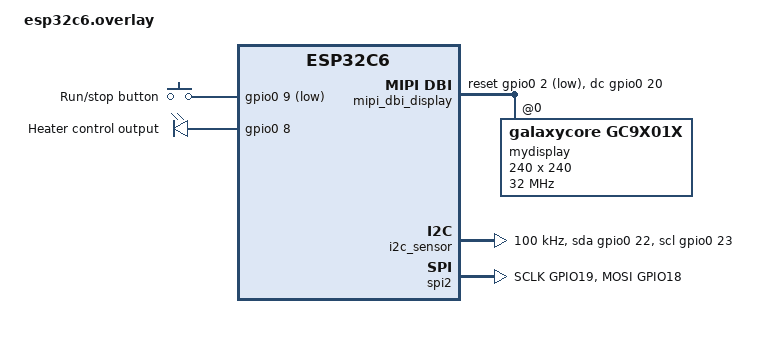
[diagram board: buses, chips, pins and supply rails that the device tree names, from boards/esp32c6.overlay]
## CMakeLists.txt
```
cmake_minimum_required(VERSION 3.20.0)

if(NOT DEFINED BOARD)
    # The ESP32-C6 Super Mini has the same 4 MB C6 module class and native USB
    # serial/JTAG path used by this Zephyr board definition. boards/esp32c6.overlay
    # overrides all user-facing pins with raw Super Mini GPIO numbers.
    set(BOARD xiao_esp32c6/esp32c6/hpcore)
endif()

if(BOARD STREQUAL "xiao_esp32c6/esp32c6/hpcore")
    set(DTC_OVERLAY_FILE "boards/esp32c6.overlay")
    set(EXTRA_CONF_FILE "boards/esp32c6.conf")
endif()

find_package(Zephyr REQUIRED HINTS $ENV{ZEPHYR_BASE})
project(FieldSterilization
    VERSION
        2.0.0
    DESCRIPTION
        "Field sterilization temperature controller"
)

if(NOT EXISTS "${CMAKE_SOURCE_DIR}/lib/mlx90614/src/driver_mlx90614.c")
    message(FATAL_ERROR
        "Missing MLX90614 driver. Run: git submodule update --init --recursive")
endif()

# Creates the library target
add_library(mlx90614 STATIC lib/mlx90614/src/driver_mlx90614.c)
# Add the libraries header files
target_include_directories(mlx90614 PUBLIC
    lib/mlx90614/src
    lib/mlx90614/interface
    )
# Required to set Zephyr compile options
target_link_libraries(mlx90614 PRIVATE zephyr_interface)


# Locate the source code for the application
target_sources(app PRIVATE
    src/main.c
    src/mlx90614_zephyr_iface.c
    src/mlx90614_read.c
    src/heater_pwm_shell.c
)

# Link the MLX90614 driver library to the application
target_link_libraries(app PRIVATE mlx90614)
```

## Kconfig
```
mainmenu "FieldSterilization"

source "Kconfig.zephyr"

menu "FieldSterilization application"

config FIELDSTERILIZATION_SETPOINT_CENTIC
	int "Temperature setpoint in centi-degrees Celsius"
	default 12100
	range 0 25000
	help
	  Target object temperature. The default is 121.00 C.

config FIELDSTERILIZATION_MAX_SAFE_CENTIC
	int "Maximum safe temperature in centi-degrees Celsius"
	default 13500
	range 0 25000
	help
	  Temperature that immediately stops the run and turns the heater output off.

config FIELDSTERILIZATION_VISUAL_MIN_CENTIC
	int "Minimum display scale temperature in centi-degrees Celsius"
	default 2000
	range -4000 25000
	help
	  Lower bound for the display temperature ring.

config FIELDSTERILIZATION_VISUAL_MAX_CENTIC
	int "Maximum display scale temperature in centi-degrees Celsius"
	default 18000
	range -4000 25000
	help
	  Upper bound for the display temperature ring.

config FIELDSTERILIZATION_CONTROL_WINDOW_MS
	int "Heater software PWM window in milliseconds"
	default 1000
	range 1000 10000
	help
	  Time-proportional control period. 1000 ms is 1 Hz; larger values slow the
	  output switching rate.

config FIELDSTERILIZATION_CONTROL_KP_MILLI
	int "Controller proportional gain, milli-percent per C"
	default 8000
	range 0 50000
	help
	  Proportional gain for the PI control loop. 8000 means 8 percent duty per C.

config FIELDSTERILIZATION_CONTROL_KI_MILLI
	int "Controller integral gain, milli-percent per C per window"
	default 1000
	range 0 10000
	help
	  Integral gain added once per control window. 1000 means 1 percent duty per C
	  per control update.

config FIELDSTERILIZATION_SENSOR_TIMEOUT_MS
	int "Sensor timeout in milliseconds"
	default 1500
	range 200 10000
	help
	  Maximum age of the last good MLX90614 reading before output is disabled.

config FIELDSTERILIZATION_BUTTON_DEBOUNCE_MS
	int "Run button debounce interval in milliseconds"
	default 250
	range 20 2000
	help
	  Minimum time between accepted run/stop button presses.

config FIELDSTERILIZATION_I2C_SCAN_ON_BOOT
	bool "Scan I2C bus on boot"
	help
	  Enable only while debugging sensor wiring. The production default is off.

endmenu
```

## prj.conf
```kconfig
CONFIG_PRINTK=y
CONFIG_WARN_EXPERIMENTAL=y

CONFIG_LOG=y
CONFIG_EXCEPTION_DEBUG=y

# Temperature treated as floating point number
CONFIG_REQUIRES_FLOAT_PRINTF=y

CONFIG_GPIO=y
CONFIG_I2C=y

CONFIG_MAIN_STACK_SIZE=4096

# Tick Source
CONFIG_SYS_CLOCK_TICKS_PER_SEC=1000

CONFIG_HEAP_MEM_POOL_SIZE=16384
CONFIG_KERNEL_MEM_POOL=y
CONFIG_SYS_HEAP_RUNTIME_STATS=y
CONFIG_COMMON_LIBC_MALLOC=n

# I2C Shell
CONFIG_I2C_SHELL=y
CONFIG_SHELL=y

# Application defaults. Temperatures are centi-degrees Celsius.
CONFIG_FIELDSTERILIZATION_SETPOINT_CENTIC=12100
CONFIG_FIELDSTERILIZATION_MAX_SAFE_CENTIC=13500
CONFIG_FIELDSTERILIZATION_VISUAL_MIN_CENTIC=2000
CONFIG_FIELDSTERILIZATION_VISUAL_MAX_CENTIC=18000
CONFIG_FIELDSTERILIZATION_CONTROL_WINDOW_MS=1000
CONFIG_FIELDSTERILIZATION_I2C_SCAN_ON_BOOT=y
```

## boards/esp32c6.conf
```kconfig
CONFIG_ESP32_SPIM=y
# Primary LVGL configs
CONFIG_LVGL=y
CONFIG_LV_USE_LABEL=y
CONFIG_LV_Z_VDB_SIZE=40
CONFIG_LV_Z_FLUSH_THREAD=y
CONFIG_LV_Z_FLUSH_THREAD_PRIORITY=90
CONFIG_LV_Z_MEM_POOL_SIZE=16384
CONFIG_LV_Z_FLUSH_THREAD_STACK_SIZE=4096
CONFIG_LV_COLOR_DEPTH_16=y
CONFIG_LV_COLOR_16_SWAP=y

# Fonts
CONFIG_LV_FONT_MONTSERRAT_14=y
CONFIG_LV_FONT_MONTSERRAT_16=y
CONFIG_LV_FONT_MONTSERRAT_18=y
CONFIG_LV_FONT_MONTSERRAT_20=y
CONFIG_LV_FONT_MONTSERRAT_28=y
CONFIG_LV_FONT_MONTSERRAT_36=y
CONFIG_LV_FONT_MONTSERRAT_40=y

CONFIG_SPI=y
CONFIG_DISPLAY=y
CONFIG_DISPLAY_INIT_PRIORITY=85

CONFIG_I2C_LOG_LEVEL_DBG=y
CONFIG_I2C_GPIO=y
```

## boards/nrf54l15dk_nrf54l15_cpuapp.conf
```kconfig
CONFIG_I2C=y
CONFIG_I2C_SHELL=y
CONFIG_SHELL=y
```

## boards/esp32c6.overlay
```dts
#include <freq.h>
#include <zephyr/dt-bindings/display/panel.h>
#include <zephyr/dt-bindings/gpio/gpio.h>
#include <zephyr/dt-bindings/input/input-event-codes.h>
#include <zephyr/dt-bindings/pinctrl/esp32c6-pinctrl.h>
#include <zephyr/dt-bindings/i2c/i2c.h>

/ {
	chosen {
		zephyr,display = &mydisplay;
	};

	aliases {
		sw0 = &run_button;
		heater0 = &heater_output;
	};

	buttons {
		compatible = "gpio-keys";
		debounce-interval-ms = <30>;

		run_button: button-0 {
			gpios = <&gpio0 9 (GPIO_PULL_UP | GPIO_ACTIVE_LOW)>;
			label = "Run/stop button";
			zephyr,code = <INPUT_KEY_0>;
		};
	};

	control_outputs {
		compatible = "gpio-leds";

		heater_output: heater-output {
			gpios = <&gpio0 8 GPIO_ACTIVE_HIGH>;
			label = "Heater control output";
		};
	};

	mipi_dbi_display {
		compatible = "zephyr,mipi-dbi-spi";
		status = "okay";
		spi-dev = <&spi2>;
		dc-gpios = <&gpio0 20 GPIO_ACTIVE_HIGH>;
		reset-gpios = <&gpio0 2 GPIO_ACTIVE_LOW>;
		write-only;
		#address-cells = <1>;
		#size-cells = <0>;

		mydisplay: mydisplay@0 {
			compatible = "galaxycore,gc9x01x";
			reg = <0>;
			mipi-max-frequency = <DT_FREQ_M(32)>;
			width = <240>;
			height = <240>;
			pixel-format = <PANEL_PIXEL_FORMAT_RGB_565>;
			display-inversion;
			orientation = "180";
			status = "okay";
		};
	};
};

&pinctrl {
	spim2_display: spim2_display {
		group1 {
			pinmux = <SPIM2_SCLK_GPIO19>;
		};

		group2 {
			pinmux = <SPIM2_MOSI_GPIO18>;
			output-low;
		};
	};
};

&spi2 {
	cs-gpios = <&gpio0 3 GPIO_ACTIVE_LOW>;
	status = "okay";
	pinctrl-names = "default";
	pinctrl-0 = <&spim2_display>;
};

&rf_switch {
	status = "disabled";
};

/* Disable the hardware I2C peripheral — it has known issues on ESP32C6 with Zephyr */
&i2c0 {
	status = "disabled";
};

/* Software bitbang I2C on the same GPIO22/23 pins */
/ {
	i2c_sensor: i2c_sensor {
		compatible = "gpio-i2c";
		sda-gpios = <&gpio0 22 (GPIO_OPEN_DRAIN | GPIO_PULL_UP)>;
		scl-gpios = <&gpio0 23 (GPIO_OPEN_DRAIN | GPIO_PULL_UP)>;
		clock-frequency = <I2C_BITRATE_STANDARD>;
		#address-cells = <1>;
		#size-cells = <0>;
		status = "okay";
	};
};
```

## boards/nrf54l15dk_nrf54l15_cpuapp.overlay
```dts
#include <zephyr/dt-bindings/gpio/gpio.h>

/ {
	aliases {
		heater0 = &heater_output;
	};

	control_outputs {
		compatible = "gpio-leds";

		heater_output: heater-output {
			gpios = <&gpio1 4 GPIO_ACTIVE_HIGH>;
			label = "Heater control output";
		};
	};
};

&pinctrl {
	i2c21_default: i2c21_default {
		group1 {
			psels = <NRF_PSEL(TWIM_SDA, 1, 2)>,
				<NRF_PSEL(TWIM_SCL, 1, 3)>;
			bias-pull-up;
		};
	};
	i2c21_sleep: i2c21_sleep {
		group1 {
			psels = <NRF_PSEL(TWIM_SDA, 1, 2)>,
				<NRF_PSEL(TWIM_SCL, 1, 3)>;
			low-power-enable;
		};
	};
};

&i2c21 {
	status = "okay";
	pinctrl-0 = <&i2c21_default>;
	pinctrl-1 = <&i2c21_sleep>;
	pinctrl-names = "default", "sleep";
	clock-frequency = <I2C_BITRATE_STANDARD>;
};
```

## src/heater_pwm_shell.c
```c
#include <zephyr/kernel.h>
#include <zephyr/drivers/gpio.h>
#include <zephyr/shell/shell.h>
#include <zephyr/logging/log.h>
#include "heater_pwm_shell.h"

LOG_MODULE_REGISTER(heater_pwm, LOG_LEVEL_INF);

/*
 * Software PWM on the heater output GPIO.
 *
 * 2 Hz period = 500 ms total.  5% duty = 25 ms on, 475 ms off.
 * A single periodic timer fires every 25 ms (GCD of 25 and 475).
 * On each tick the output is driven high for the first tick and low for
 * the remaining 19 ticks, giving exactly 25/500 = 5% duty at 2 Hz.
 */

#define PWM_PERIOD_MS   5000
#define PWM_ON_MS       2500
#define PWM_TICK_MS     2500          /* GCD(25, 475) */
#define PWM_TICKS       (PWM_PERIOD_MS / PWM_TICK_MS)   /* 20 ticks per period */
#define PWM_ON_TICKS    (PWM_ON_MS    / PWM_TICK_MS)    /* 1 tick high          */

static const struct gpio_dt_spec heater_gpio =
	GPIO_DT_SPEC_GET(DT_ALIAS(heater0), gpios);

static struct k_timer pwm_timer;
static volatile bool pwm_running;
static int tick_count;

static void pwm_timer_fn(struct k_timer *t)
{
	ARG_UNUSED(t);

	tick_count = (tick_count + 1) % PWM_TICKS;
	gpio_pin_set_dt(&heater_gpio, tick_count < PWM_ON_TICKS ? 1 : 0);
}

static int pwm_start(void)
{
	if (!gpio_is_ready_dt(&heater_gpio)) {
		LOG_ERR("Heater GPIO not ready");
		return -ENODEV;
	}

	int ret = gpio_pin_configure_dt(&heater_gpio, GPIO_OUTPUT_INACTIVE);
	if (ret) {
		LOG_ERR("Heater GPIO configure failed: %d", ret);
		return ret;
	}

	tick_count = PWM_TICKS - 1; /* next tick rolls to 0 → first tick goes high */
	pwm_running = true;
	k_timer_start(&pwm_timer, K_MSEC(PWM_TICK_MS), K_MSEC(PWM_TICK_MS));
	LOG_INF("Heater PWM started: 0.2 Hz, 10%% duty on GPIO%u",
		heater_gpio.pin);
	return 0;
}

static void pwm_stop(void)
{
	k_timer_stop(&pwm_timer);
	pwm_running = false;
	gpio_pin_set_dt(&heater_gpio, 0);
	LOG_INF("Heater PWM stopped");
}

static int cmd_heater_pwm_start(const struct shell *sh, size_t argc, char **argv)
{
	ARG_UNUSED(argc);
	ARG_UNUSED(argv);

	if (pwm_running) {
		shell_print(sh, "Heater PWM already running");
		return 0;
	}

	int ret = pwm_start();
	if (ret) {
		shell_error(sh, "Failed to start heater PWM: %d", ret);
	} else {
		shell_print(sh, "Heater PWM started (2 Hz, 5%% duty)");
	}
	return ret;
}

static int cmd_heater_pwm_stop(const struct shell *sh, size_t argc, char **argv)
{
	ARG_UNUSED(argc);
	ARG_UNUSED(argv);

	if (!pwm_running) {
		shell_print(sh, "Heater PWM not running");
		return 0;
	}

	pwm_stop();
	shell_print(sh, "Heater PWM stopped");
	return 0;
}

static int cmd_heater_pwm_status(const struct shell *sh, size_t argc, char **argv)
{
	ARG_UNUSED(argc);
	ARG_UNUSED(argv);

	shell_print(sh, "Heater PWM: %s", pwm_running ? "running" : "stopped");
	return 0;
}

SHELL_STATIC_SUBCMD_SET_CREATE(sub_heater_pwm,
	SHELL_CMD(start,  NULL, "Start 2 Hz 5%% duty PWM on heater GPIO", cmd_heater_pwm_start),
	SHELL_CMD(stop,   NULL, "Stop heater PWM",                         cmd_heater_pwm_stop),
	SHELL_CMD(status, NULL, "Show heater PWM state",                   cmd_heater_pwm_status),
	SHELL_SUBCMD_SET_END
);

SHELL_CMD_REGISTER(heater_pwm, &sub_heater_pwm,
	"Control heater output software PWM", NULL);

static int heater_pwm_init(void)
{
	k_timer_init(&pwm_timer, pwm_timer_fn, NULL);
	return 0;
}

SYS_INIT(heater_pwm_init, APPLICATION, CONFIG_APPLICATION_INIT_PRIORITY);
```

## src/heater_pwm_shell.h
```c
#pragma once

#include <stdbool.h>

bool heater_pwm_is_running(void);
```

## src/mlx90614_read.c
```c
#include "mlx90614_read.h"
#include "driver_mlx90614.h"
#include "driver_mlx90614_interface.h"
#include <errno.h>

static mlx90614_handle_t gs_handle;

int mlx90614_sensor_init(void)
{
    DRIVER_MLX90614_LINK_INIT(&gs_handle, mlx90614_handle_t);
    DRIVER_MLX90614_LINK_IIC_INIT(&gs_handle, mlx90614_interface_iic_init);
    DRIVER_MLX90614_LINK_IIC_DEINIT(&gs_handle, mlx90614_interface_iic_deinit);
    DRIVER_MLX90614_LINK_IIC_READ(&gs_handle, mlx90614_interface_iic_read);
    DRIVER_MLX90614_LINK_IIC_WRITE(&gs_handle, mlx90614_interface_iic_write);
    DRIVER_MLX90614_LINK_SCL_WRITE(&gs_handle, mlx90614_interface_scl_write);
    DRIVER_MLX90614_LINK_SDA_WRITE(&gs_handle, mlx90614_interface_sda_write);
    DRIVER_MLX90614_LINK_DELAY_MS(&gs_handle, mlx90614_interface_delay_ms);
    DRIVER_MLX90614_LINK_DEBUG_PRINT(&gs_handle, mlx90614_interface_debug_print);

    /* Library uses 8-bit SMBus addresses; set default before init */
    mlx90614_set_addr(&gs_handle, MLX90614_ADDRESS_DEFAULT);

    return mlx90614_init(&gs_handle) ? -EIO : 0;
}

int mlx90614_read_temperature(float *ambient, float *object)
{
    uint16_t raw_ambient, raw_object;

    if (mlx90614_read_ambient(&gs_handle, &raw_ambient, ambient) != 0)
        return -EIO;
    if (mlx90614_read_object1(&gs_handle, &raw_object, object) != 0)
        return -EIO;

    return 0;
}

void mlx90614_sensor_deinit(void)
{
    mlx90614_deinit(&gs_handle);
}
```

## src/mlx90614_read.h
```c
#pragma once

int mlx90614_sensor_init(void);
int mlx90614_read_temperature(float *ambient, float *object);
void mlx90614_sensor_deinit(void);
```

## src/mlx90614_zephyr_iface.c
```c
#include <zephyr/kernel.h>
#include <zephyr/drivers/i2c.h>
#include <zephyr/logging/log.h>
#include <string.h>
#include "driver_mlx90614_interface.h"

LOG_MODULE_REGISTER(mlx90614, LOG_LEVEL_DBG);

static const struct device *i2c_dev;

uint8_t mlx90614_interface_iic_init(void)
{
#if DT_NODE_HAS_STATUS(DT_NODELABEL(i2c21), okay)
    i2c_dev = DEVICE_DT_GET(DT_NODELABEL(i2c21));
#elif DT_NODE_HAS_STATUS(DT_NODELABEL(i2c_sensor), okay)
    i2c_dev = DEVICE_DT_GET(DT_NODELABEL(i2c_sensor));
#else
    i2c_dev = DEVICE_DT_GET(DT_NODELABEL(i2c0));
#endif
    if (!device_is_ready(i2c_dev)) {
        LOG_ERR("I2C device not ready");
        return 1;
    }
    return 0;
}

uint8_t mlx90614_interface_iic_deinit(void)
{
    i2c_dev = NULL;
    return 0;
}

/* MLX90614 passes 8-bit SMBus addresses (0xB4); Zephyr expects 7-bit (0x5A).
   Shift right by 1 to convert. The library uses the 8-bit form only for PEC
   calculation internally; the wire transaction uses the 7-bit form. */
uint8_t mlx90614_interface_iic_read(uint8_t addr, uint8_t reg,
                                     uint8_t *buf, uint16_t len)
{
    if (!i2c_dev) {
        LOG_ERR("iic_read: i2c_dev is NULL");
        return 1;
    }
    int ret = i2c_write_read(i2c_dev, addr >> 1, &reg, 1, buf, len);
    if (ret) {
        LOG_DBG("i2c_write_read(addr=0x%02x reg=0x%02x len=%u) => %d",
                addr >> 1, reg, len, ret);
    }
    return ret ? 1 : 0;
}

uint8_t mlx90614_interface_iic_write(uint8_t addr, uint8_t reg,
                                      uint8_t *buf, uint16_t len)
{
    if (!i2c_dev) {
        LOG_ERR("iic_write: i2c_dev is NULL");
        return 1;
    }
    uint8_t tx[len + 1];
    tx[0] = reg;
    memcpy(&tx[1], buf, len);
    int ret = i2c_write(i2c_dev, tx, len + 1, addr >> 1);
    if (ret) {
        LOG_DBG("i2c_write(addr=0x%02x reg=0x%02x len=%u) => %d",
                addr >> 1, reg, len + 1, ret);
    }
    return ret ? 1 : 0;
}

/* scl_write/sda_write are only called by the driver for SMBus sleep/wake mode,
   which this application does not use. They must be non-null to pass the driver's
   null-check in mlx90614_init; the hardware I2C controller owns these pins. */
uint8_t mlx90614_interface_scl_write(uint8_t val) { return 0; }
uint8_t mlx90614_interface_sda_write(uint8_t val) { return 0; }

void mlx90614_interface_delay_ms(uint32_t ms)
{
    k_msleep(ms);
}

void mlx90614_interface_debug_print(const char *fmt, ...)
{
    (void)fmt;
}
```

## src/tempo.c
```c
/*
 * Copyright (c) 2019 Jan Van Winkel <jan.van_winkel@dxplore.eu>
 *
 * Based on ST7789V sample:
 * Copyright (c) 2019 Marc Reilly
 *
 * SPDX-License-Identifier: Apache-2.0
 */

#include <zephyr/logging/log.h>
LOG_MODULE_REGISTER(sample, LOG_LEVEL_INF);

#include <zephyr/kernel.h>
#include <zephyr/device.h>
#include <zephyr/drivers/display.h>
#include <zephyr/drivers/pwm.h>
#include <lvgl.h>

static void lv_tick_timer_handler(struct k_timer *timer)
{
	lv_tick_inc(1);
}

K_TIMER_DEFINE(lv_tick_timer,lv_tick_timer_handler, NULL);

#ifdef CONFIG_ARCH_POSIX
#include "posix_board_if.h"
#endif


enum corner {
	TOP_LEFT,
	TOP_RIGHT,
	BOTTOM_RIGHT,
	BOTTOM_LEFT
};

typedef void (*fill_buffer)(enum corner corner, uint8_t grey, uint8_t *buf,
			    size_t buf_size);


#ifdef CONFIG_ARCH_POSIX
static void posix_exit_main(int exit_code)
{
#if CONFIG_TEST
	if (exit_code == 0) {
		LOG_INF("PROJECT EXECUTION SUCCESSFUL");
	} else {
		LOG_INF("PROJECT EXECUTION FAILED");
	}
#endif
	posix_exit(exit_code);
}
#endif

static void fill_buffer_argb8888(enum corner corner, uint8_t grey, uint8_t *buf,
				 size_t buf_size)
{
	uint32_t color = 0;

	switch (corner) {
	case TOP_LEFT:
		color = 0x00FF0000u;
		break;
	case TOP_RIGHT:
		color = 0x0000FF00u;
		break;
	case BOTTOM_RIGHT:
		color = 0x000000FFu;
		break;
	case BOTTOM_LEFT:
		color = grey << 16 | grey << 8 | grey;
		break;
	}

	for (size_t idx = 0; idx < buf_size; idx += 4) {
		*((uint32_t *)(buf + idx)) = color;
	}
}

static void fill_buffer_rgb888(enum corner corner, uint8_t grey, uint8_t *buf,
			       size_t buf_size)
{
	uint32_t color = 0;

	switch (corner) {
	case TOP_LEFT:
		color = 0x00FF0000u;
		break;
	case TOP_RIGHT:
		color = 0x0000FF00u;
		break;
	case BOTTOM_RIGHT:
		color = 0x000000FFu;
		break;
	case BOTTOM_LEFT:
		color = grey << 16 | grey << 8 | grey;
		break;
	}

	for (size_t idx = 0; idx < buf_size; idx += 3) {
		*(buf + idx + 0) = color >> 16;
		*(buf + idx + 1) = color >> 8;
		*(buf + idx + 2) = color >> 0;
	}
}

static uint16_t get_rgb565_color(enum corner corner, uint8_t grey)
{
	uint16_t color = 0;
	uint16_t grey_5bit;

	switch (corner) {
	case TOP_LEFT:
		color = 0xF800u;
		break;
	case TOP_RIGHT:
		color = 0x07E0u;
		break;
	case BOTTOM_RIGHT:
		color = 0x001Fu;
		break;
	case BOTTOM_LEFT:
		grey_5bit = grey & 0x1Fu;
		/* shift the green an extra bit, it has 6 bits */
		color = grey_5bit << 11 | grey_5bit << (5 + 1) | grey_5bit;
		break;
	}
	return color;
}

static void fill_buffer_rgb565(enum corner corner, uint8_t grey, uint8_t *buf,
			       size_t buf_size)
{
	uint16_t color = get_rgb565_color(corner, grey);

	for (size_t idx = 0; idx < buf_size; idx += 2) {
		*(buf + idx + 0) = (color >> 8) & 0xFFu;
		*(buf + idx + 1) = (color >> 0) & 0xFFu;
	}
}

// static void fill_buffer_bgr565(enum corner corner, uint8_t grey, uint8_t *buf,
// 			       size_t buf_size)
// {
// 	uint16_t color = get_rgb565_color(corner, grey);

// 	for (size_t idx = 0; idx < buf_size; idx += 2) {
// 		*(uint16_t *)(buf + idx) = color;
// 	}
// }

static void fill_buffer_mono(enum corner corner, uint8_t grey, uint8_t *buf,
			     size_t buf_size)
{
	uint16_t color;

	switch (corner) {
	case BOTTOM_LEFT:
		color = (grey & 0x01u) ? 0xFFu : 0x00u;
		break;
	default:
		color = 0;
		break;
	}

	memset(buf, color, buf_size);
}

int main(void)
{
	size_t x;
	size_t y;
	size_t rect_w;
	size_t rect_h;
	size_t h_step;
	size_t scale;
	size_t grey_count;
	uint8_t *buf;
	int32_t grey_scale_sleep;
	const struct device *display_dev;
	struct display_capabilities capabilities;
	struct display_buffer_descriptor buf_desc;
	size_t buf_size = 0;
	fill_buffer fill_buffer_fnc = NULL;

	
	// watchdog_update();
	display_dev = DEVICE_DT_GET(DT_CHOSEN(zephyr_display));
	if (!device_is_ready(display_dev)) {
		LOG_ERR("Device %s not found. Aborting sample.",
			display_dev->name);
		return 1;
	}

	LOG_INF("Display sample for %s", display_dev->name);
	display_get_capabilities(display_dev, &capabilities);

	LOG_INF("Display Info:\n\t\t\tX Resolution: %hu\n\t\t\tY Resolution: %hu\n", &capabilities.x_resolution, &capabilities.y_resolution);

	if (capabilities.screen_info & SCREEN_INFO_MONO_VTILED) {
		rect_w = 16;
		rect_h = 8;
	} else {
		rect_w = 2;
		rect_h = 1;
	}

	h_step = rect_h;
	scale = (capabilities.x_resolution / 8) / rect_h;

	rect_w *= scale;
	rect_h *= scale;

	if (capabilities.screen_info & SCREEN_INFO_EPD) {
		grey_scale_sleep = 10000;
	} else {
		grey_scale_sleep = 10;
	}

	LOG_INF("Grey Scale Sleep: %dms",grey_scale_sleep);

	buf_size = rect_w * rect_h;

	if (buf_size < (capabilities.x_resolution * h_step)) {
		buf_size = capabilities.x_resolution * h_step;
	}

	switch (capabilities.current_pixel_format) {
	case PIXEL_FORMAT_ARGB_8888:
		fill_buffer_fnc = fill_buffer_argb8888;
		buf_size *= 4;
		break;
	case PIXEL_FORMAT_RGB_888:
		fill_buffer_fnc = fill_buffer_rgb888;
		buf_size *= 3;
		break;
	case PIXEL_FORMAT_RGB_565:
		fill_buffer_fnc = fill_buffer_rgb565;
		buf_size *= 2;
		break;
	// case PIXEL_FORMAT_BGR_565:
	// 	fill_buffer_fnc = fill_buffer_bgr565;
	// 	buf_size *= 2;
	// 	break;
	case PIXEL_FORMAT_MONO01:
	case PIXEL_FORMAT_MONO10:
		fill_buffer_fnc = fill_buffer_mono;
		buf_size /= 8;
		break;
	default:
		LOG_ERR("Unsupported pixel format. Aborting sample.");
		return 1;
	}

	buf = k_malloc(buf_size);

	if (buf == NULL) {
		LOG_ERR("Could not allocate memory. Aborting sample.");
		return 1;
	}

	(void)memset(buf, 0xFFu, buf_size);

	buf_desc.buf_size = buf_size;
	buf_desc.pitch = capabilities.x_resolution;
	buf_desc.width = capabilities.x_resolution;
	buf_desc.height = h_step;

	for (int idx = 0; idx < capabilities.y_resolution; idx += h_step) {
		display_write(display_dev, 0, idx, &buf_desc, buf);
	}
	int ret=display_set_brightness(display_dev,255);

	if(ret){
		LOG_ERR("Brightness not set");
	}
	buf_desc.pitch = rect_w;
	buf_desc.width = rect_w;
	buf_desc.height = rect_h;

	fill_buffer_fnc(TOP_LEFT, 200U, buf, buf_size);
	x = 0;
	y = 0;
	display_write(display_dev, x, y, &buf_desc, buf);

	fill_buffer_fnc(TOP_RIGHT, 200U, buf, buf_size);
	x = capabilities.x_resolution - rect_w;
	y = 0;
	display_write(display_dev, x, y, &buf_desc, buf);

	fill_buffer_fnc(BOTTOM_RIGHT, 200U, buf, buf_size);
	x = capabilities.x_resolution - rect_w;
	y = capabilities.y_resolution - rect_h;
	display_write(display_dev, x, y, &buf_desc, buf);

	display_blanking_off(display_dev);
	// display_blanking_on(display_dev);

	LOG_INF("Display Blanking Turned Off");

	grey_count = 0;
	x = 0;
	y = capabilities.y_resolution - rect_h;

	while (1) {
		x = 0;
		y = 0;
		fill_buffer_fnc(TOP_LEFT, grey_count, buf, buf_size);
		display_write(display_dev, x, y, &buf_desc, buf);
		x = capabilities.x_resolution - rect_w;
		y = 0;
		fill_buffer_fnc(TOP_RIGHT, grey_count, buf, buf_size);
		display_write(display_dev, x, y, &buf_desc, buf);
		x = capabilities.x_resolution - rect_w;
		y = capabilities.y_resolution - rect_h;
		fill_buffer_fnc(BOTTOM_RIGHT, grey_count, buf, buf_size);
		display_write(display_dev, x, y, &buf_desc, buf);
		k_msleep(grey_scale_sleep);
		++grey_count;
	#if CONFIG_TEST
		if (grey_count >= 1024) {
			break;
		}
#endif
	}

	return 0;
}
```
